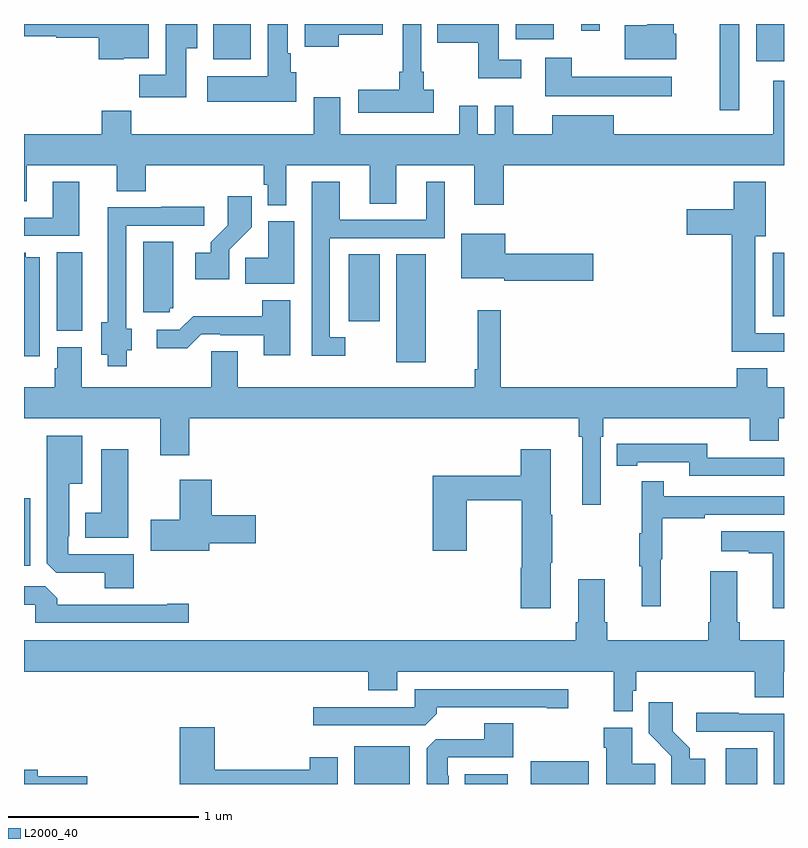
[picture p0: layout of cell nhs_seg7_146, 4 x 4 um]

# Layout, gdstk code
import gdstk
lib = gdstk.Library(unit=1e-6, precision=1e-09)
def R(c, l, rs):  # rectangles x0, y0, x1, y1
    for r in rs: c.add(gdstk.rectangle(r[:2], r[2:], *l))
def P(c, l, *ps):  # polygons
    for p in ps: c.add(gdstk.Polygon(p, *l))
L2000_40 = (2000, 40)

nhs_seg7_146 = lib.new_cell('nhs_seg7_146')
R(nhs_seg7_146, L2000_40, [(122.738,1024,123.031,1024.198), (123.32,1024,123.547,1024.051), (123.666,1024,123.973,1024.12), (124.694,1024,124.858,1024.189), (121,1025.15,121.033,1025.503), (122.96,1026.219,123.115,1026.788), (121.172,1026.385,121.306,1026.8), (122.708,1026.435,122.872,1026.788), (124.94,1026.461,125,1026.796), (124.661,1027.545,124.765,1028), (124.853,1027.805,125,1028), (121.997,1027.814,122.194,1028), (123.587,1027.919,123.787,1028), (123.932,1027.965,124.03,1028)])
P(nhs_seg7_146, L2000_40, [(123.157,1027.654),(123.103,1027.654),(123.103,1027.75),(123.09,1027.75),(123.09,1028),(122.994,1028),(122.994,1027.75),(122.974,1027.75),(122.974,1027.654),(122.76,1027.654),(122.76,1027.532),(123.157,1027.532)],
  [(123.616,1027.812),(123.498,1027.812),(123.498,1028),(123.175,1028),(123.175,1027.901),(123.39,1027.901),(123.39,1027.715),(123.616,1027.715)],
  [(124.432,1027.95),(124.42,1027.95),(124.42,1028),(124.28,1028),(124.28,1027.993),(124.163,1027.993),(124.163,1027.814),(124.432,1027.814)],
  [(122.434,1027.746),(122.404,1027.746),(122.404,1027.846),(122.389,1027.846),(122.389,1028),(122.282,1028),(122.282,1027.726),(121.965,1027.726),(121.965,1027.592),(122.434,1027.592)],
  [(121.524,1027.82),(121.657,1027.82),(121.657,1028),(121,1028),(121,1027.936),(121.17,1027.936),(121.17,1027.928),(121.394,1027.928),(121.394,1027.814),(121.524,1027.814)],
  [(122.656,1027.943),(122.887,1027.943),(122.887,1028),(122.477,1028),(122.477,1027.88),(122.656,1027.88)],
  [(121.855,1027.873),(121.912,1027.873),(121.912,1028),(121.745,1028),(121.745,1027.732),(121.606,1027.732),(121.606,1027.614),(121.855,1027.614)],
  [(124.408,1027.723),(123.883,1027.723),(123.883,1027.822),(123.743,1027.822),(123.743,1027.619),(124.408,1027.619)],
  [(122.38,1027.256),(122.819,1027.256),(122.819,1027.054),(122.959,1027.054),(122.959,1027.256),(123.371,1027.256),(123.371,1027.05),(123.524,1027.05),(123.524,1027.256),(125,1027.256),(125,1027.702),(124.943,1027.702),(124.943,1027.42),(124.105,1027.42),(124.105,1027.519),(123.779,1027.519),(123.779,1027.42),(123.575,1027.42),(123.575,1027.57),(123.477,1027.57),(123.477,1027.42),(123.387,1027.42),(123.387,1027.57),(123.29,1027.57),(123.29,1027.42),(122.665,1027.42),(122.665,1027.615),(122.525,1027.615),(122.525,1027.42),(121.565,1027.42),(121.565,1027.544),(121.409,1027.544),(121.409,1027.42),(121,1027.42),(121,1027.066),(121.015,1027.066),(121.015,1027.256),(121.487,1027.256),(121.487,1027.12),(121.64,1027.12),(121.64,1027.256),(122.263,1027.256),(122.263,1027.155),(122.283,1027.155),(122.283,1027.046),(122.38,1027.046)],
  [(125,1026.372),(124.849,1026.372),(124.849,1026.884),(124.903,1026.884),(124.903,1027.171),(124.736,1027.171),(124.736,1027.024),(124.488,1027.024),(124.488,1026.89),(124.724,1026.89),(124.724,1026.275),(125,1026.275)],
  [(122.692,1026.351),(122.61,1026.351),(122.61,1026.873),(123.214,1026.873),(123.214,1027.171),(123.116,1027.171),(123.116,1026.969),(122.662,1026.969),(122.662,1027.171),(122.514,1027.171),(122.514,1026.254),(122.692,1026.254)],
  [(121.291,1027.171),(121.151,1027.171),(121.151,1026.981),(121,1026.981),(121,1026.885),(121.291,1026.885)],
  [(122.079,1026.811),(122.198,1026.93),(122.198,1027.093),(122.073,1027.093),(122.073,1026.941),(121.982,1026.851),(121.982,1026.796),(121.902,1026.796),(121.902,1026.656),(122.079,1026.656)],
  [(121.54,1026.282),(121.567,1026.282),(121.567,1026.396),(121.539,1026.396),(121.539,1026.939),(121.948,1026.939),(121.948,1027.038),(121.723,1027.038),(121.723,1027.035),(121.442,1027.035),(121.442,1026.43),(121.406,1026.43),(121.406,1026.26),(121.442,1026.26),(121.442,1026.2),(121.54,1026.2)],
  [(122.422,1026.961),(122.285,1026.961),(122.285,1026.77),(122.164,1026.77),(122.164,1026.632),(122.422,1026.632)],
  [(123.997,1026.792),(123.532,1026.792),(123.532,1026.895),(123.302,1026.895),(123.302,1026.662),(123.528,1026.662),(123.528,1026.65),(123.997,1026.65)],
  [(121.767,1026.504),(121.786,1026.504),(121.786,1026.853),(121.628,1026.853),(121.628,1026.483),(121.767,1026.483)],
  [(121.084,1026.772),(121.008,1026.772),(121.008,1026.796),(121,1026.796),(121,1026.252),(121.084,1026.252)],
  [(122.401,1026.547),(122.254,1026.547),(122.254,1026.463),(121.891,1026.463),(121.818,1026.39),(121.698,1026.39),(121.698,1026.293),(121.859,1026.293),(121.932,1026.366),(122.032,1026.366),(122.032,1026.363),(122.261,1026.363),(122.261,1026.257),(122.401,1026.257)],
  [(124.035,1025.828),(124.049,1025.828),(124.049,1025.924),(124.82,1025.924),(124.82,1025.807),(124.973,1025.807),(124.973,1025.924),(125,1025.924),(125,1026.088),(124.911,1026.088),(124.911,1026.187),(124.751,1026.187),(124.751,1026.088),(123.509,1026.088),(123.509,1026.493),(123.388,1026.493),(123.388,1026.184),(123.373,1026.184),(123.373,1026.088),(122.125,1026.088),(122.125,1026.278),(121.986,1026.278),(121.986,1026.088),(121.303,1026.088),(121.303,1026.3),(121.175,1026.3),(121.175,1026.189),(121.163,1026.189),(121.163,1026.088),(121,1026.088),(121,1025.924),(121.718,1025.924),(121.718,1025.73),(121.871,1025.73),(121.871,1025.924),(123.919,1025.924),(123.919,1025.828),(123.938,1025.828),(123.938,1025.469),(124.035,1025.469)],
  [(121.577,1025.208),(121.233,1025.208),(121.233,1025.305),(121.237,1025.305),(121.237,1025.579),(121.306,1025.579),(121.306,1025.833),(121.121,1025.833),(121.121,1025.161),(121.17,1025.112),(121.424,1025.112),(121.424,1025.029),(121.577,1025.029)],
  [(125,1025.718),(124.596,1025.718),(124.596,1025.791),(124.228,1025.791),(124.228,1025.79),(124.12,1025.79),(124.12,1025.674),(124.228,1025.674),(124.228,1025.694),(124.5,1025.694),(124.5,1025.622),(125,1025.622)],
  [(123.772,1025.164),(123.78,1025.164),(123.78,1025.417),(123.772,1025.417),(123.772,1025.761),(123.614,1025.761),(123.614,1025.623),(123.152,1025.623),(123.152,1025.228),(123.33,1025.228),(123.33,1025.494),(123.619,1025.494),(123.619,1025.138),(123.614,1025.138),(123.614,1024.926),(123.772,1024.926)],
  [(121.549,1025.761),(121.406,1025.761),(121.406,1025.428),(121.322,1025.428),(121.322,1025.297),(121.549,1025.297)],
  [(121.975,1025.267),(122.221,1025.267),(122.221,1025.414),(121.988,1025.414),(121.988,1025.602),(121.82,1025.602),(121.82,1025.391),(121.668,1025.391),(121.668,1025.228),(121.975,1025.228)],
  [(124.352,1025.184),(124.36,1025.184),(124.36,1025.398),(124.583,1025.398),(124.583,1025.418),(125,1025.418),(125,1025.514),(124.367,1025.514),(124.367,1025.593),(124.25,1025.593),(124.25,1025.321),(124.239,1025.321),(124.239,1025.147),(124.25,1025.147),(124.25,1024.935),(124.352,1024.935)],
  [(125,1025.329),(124.671,1025.329),(124.671,1025.225),(124.814,1025.225),(124.814,1025.215),(124.94,1025.215),(124.94,1024.926),(125,1024.926)],
  [(124.203,1024.491),(124.223,1024.491),(124.223,1024.592),(124.847,1024.592),(124.847,1024.456),(124.999,1024.456),(124.999,1024.592),(125,1024.592),(125,1024.756),(124.766,1024.756),(124.766,1024.852),(124.753,1024.852),(124.753,1025.119),(124.613,1025.119),(124.613,1024.852),(124.601,1024.852),(124.601,1024.756),(124.07,1024.756),(124.07,1024.852),(124.057,1024.852),(124.057,1025.077),(123.917,1025.077),(123.917,1024.852),(123.905,1024.852),(123.905,1024.756),(121,1024.756),(121,1024.592),(122.813,1024.592),(122.813,1024.493),(122.965,1024.493),(122.965,1024.592),(124.105,1024.592),(124.105,1024.382),(124.203,1024.382)],
  [(121.867,1024.949),(121.754,1024.949),(121.754,1024.944),(121.175,1024.944),(121.175,1024.978),(121.113,1025.04),(121,1025.04),(121,1024.944),(121.059,1024.944),(121.059,1024.848),(121.867,1024.848)],
  [(123.173,1024.37),(123.173,1024.404),(123.752,1024.404),(123.752,1024.399),(123.865,1024.399),(123.865,1024.5),(123.057,1024.5),(123.057,1024.404),(122.523,1024.404),(122.523,1024.308),(123.111,1024.308)],
  [(124.585,1024.132),(124.504,1024.132),(124.504,1024.187),(124.414,1024.277),(124.414,1024.429),(124.288,1024.429),(124.288,1024.266),(124.407,1024.147),(124.407,1024),(124.585,1024)],
  [(125,1024.371),(124.763,1024.371),(124.763,1024.374),(124.539,1024.374),(124.539,1024.275),(124.947,1024.275),(124.947,1024),(125,1024)],
  [(123.235,1024.043),(123.231,1024.043),(123.231,1024.14),(123.575,1024.14),(123.575,1024.319),(123.422,1024.319),(123.422,1024.236),(123.168,1024.236),(123.119,1024.187),(123.119,1024),(123.235,1024)],
  [(122.65,1024.141),(122.504,1024.141),(122.504,1024.076),(122.003,1024.076),(122.003,1024.3),(121.82,1024.3),(121.82,1024),(122.65,1024)],
  [(124.322,1024.106),(124.201,1024.106),(124.201,1024.297),(124.052,1024.297),(124.052,1024.19),(124.064,1024.19),(124.064,1024),(124.322,1024)],
  [(121.333,1024.04),(121.072,1024.04),(121.072,1024.076),(121,1024.076),(121,1024),(121.333,1024)])

lib.write_gds('nhs_seg7_146.gds')
